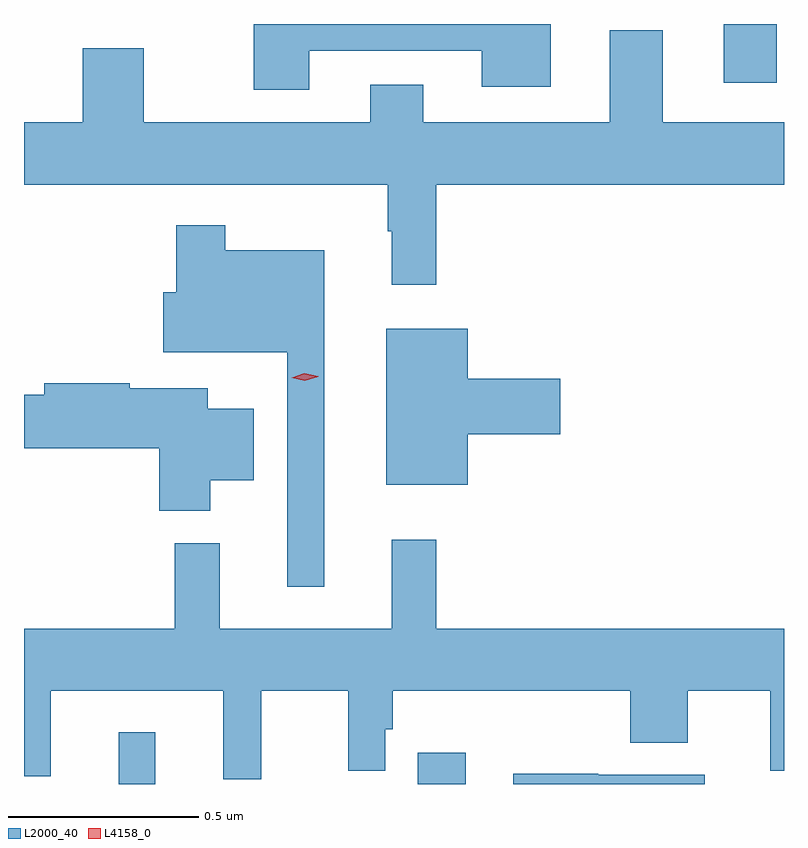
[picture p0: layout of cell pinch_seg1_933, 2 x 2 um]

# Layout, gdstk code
import gdstk
lib = gdstk.Library(unit=1e-6, precision=1e-09)
def R(c, l, rs):  # rectangles x0, y0, x1, y1
    for r in rs: c.add(gdstk.rectangle(r[:2], r[2:], *l))
def P(c, l, *ps):  # polygons
    for p in ps: c.add(gdstk.Polygon(p, *l))
L2000_40 = (2000, 40)
L4158_0 = (4158, 0)

pinch_seg1_933 = lib.new_cell('pinch_seg1_933')
R(pinch_seg1_933, L2000_40, [(545.745,523.515,545.841,523.651), (546.532,523.515,546.658,523.597), (547.337,525.36,547.477,525.515)])
P(pinch_seg1_933, L2000_40, [(546.247,525.444),(546.701,525.444),(546.701,525.35),(546.882,525.35),(546.882,525.515),(546.1,525.515),(546.1,525.342),(546.247,525.342)],
  [(546.581,525.092),(547.496,525.092),(547.496,525.256),(547.177,525.256),(547.177,525.499),(547.037,525.499),(547.037,525.256),(546.547,525.256),(546.547,525.355),(546.407,525.355),(546.407,525.256),(545.811,525.256),(545.811,525.451),(545.651,525.451),(545.651,525.256),(545.496,525.256),(545.496,525.092),(546.453,525.092),(546.453,524.969),(546.464,524.969),(546.464,524.829),(546.581,524.829)],
  [(546.286,524.92),(546.025,524.92),(546.025,524.986),(545.896,524.986),(545.896,524.809),(545.862,524.809),(545.862,524.651),(546.189,524.651),(546.189,524.034),(546.286,524.034)],
  [(546.664,524.435),(546.907,524.435),(546.907,524.582),(546.664,524.582),(546.664,524.713),(546.449,524.713),(546.449,524.303),(546.664,524.303)],
  [(545.986,524.315),(546.1,524.315),(546.1,524.503),(545.98,524.503),(545.98,524.557),(545.774,524.557),(545.774,524.57),(545.549,524.57),(545.549,524.54),(545.496,524.54),(545.496,524.398),(545.852,524.398),(545.852,524.234),(545.986,524.234)],
  [(546.12,523.76),(546.349,523.76),(546.349,523.55),(546.447,523.55),(546.447,523.659),(546.467,523.659),(546.467,523.76),(547.091,523.76),(547.091,523.624),(547.243,523.624),(547.243,523.76),(547.46,523.76),(547.46,523.55),(547.496,523.55),(547.496,523.924),(546.581,523.924),(546.581,524.158),(546.464,524.158),(546.464,523.924),(546.011,523.924),(546.011,524.149),(545.893,524.149),(545.893,523.924),(545.496,523.924),(545.496,523.535),(545.567,523.535),(545.567,523.76),(546.02,523.76),(546.02,523.527),(546.12,523.527)],
  [(547.288,523.539),(547.007,523.539),(547.007,523.542),(546.783,523.542),(546.783,523.515),(547.288,523.515)])
P(pinch_seg1_933, L4158_0, [(546.235,524.576),(546.2,524.584),(546.2,524.584),(546.2,524.584),(546.234,524.596),(546.27,524.588),(546.27,524.587),(546.27,524.587)])

lib.write_gds('pinch_seg1_933.gds')
